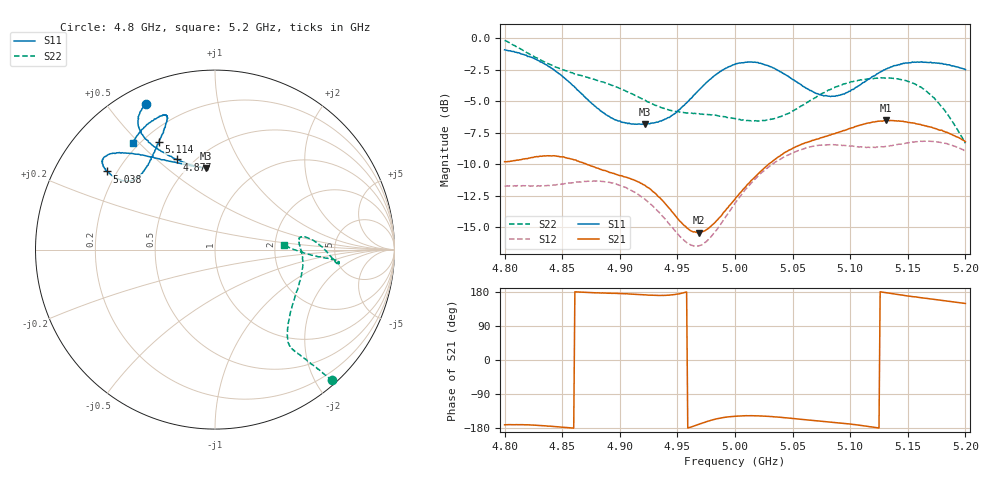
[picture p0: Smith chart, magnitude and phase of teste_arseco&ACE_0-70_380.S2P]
! Network Analyzer HP8722D
! Hewlett-Packard
! Data name: Linha & Wilkinson
! Saver's name: Rodrigo Anjos
! Comments: Teste da utilização de aquisição
! continua pelo VNA HP8722D
! Time and date: 8/5/2025 15:55
!  Frequency  S11  S21  S12  S22
# HZ  S  MA R 50
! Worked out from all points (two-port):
!   401 points, 4.8 GHz to 5.2 GHz, reference 50 ohm
!   highest |S21| = -6.52 dB at 5.131 GHz (marker M1); lowest = -15.4 dB at 4.969 GHz (marker M2)
!   |S21| within 3 dB of the highest: 4.821 GHz to 4.855 GHz (33.74 MHz wide, 0.698 % of centre); 5.036 GHz to end of sweep
!   lowest |S11| = -6.8 dB at 4.922 GHz (marker M3), VSWR 2.67, Z = 30.4 + j34.6 ohm
!   |S11| at or under -10 dB: nowhere
!   |S22| runs from -8.3 to -0.2 dB; largest |S21 - S12| = 0.83
!   S11 on the Smith chart (normalised r, x): 4.8 GHz: 0.07, +0.63; 4.877 GHz: 0.41, +0.58; 5.038 GHz: 0.16, +0.32; 5.114 GHz: 0.26, +0.58; 5.2 GHz: 0.18, +0.48
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4.8e9  0.8984 115.5  0.3236 -171.0  0.259 -86.4  0.9785 -48.1
4.819e9  0.8548 120.1  0.3326 -171.0  0.2587 -82.2  0.8773 -49.3
4.835e9  0.7879 122.1  0.341 -173.5  0.2598 -77.0  0.8027 -50.3
4.867e9  0.6002 117.1  0.3216 178.9  0.2697 -68.0  0.7097 -52.0
4.877e9  0.5449 112.7  0.3092 177.5  0.2713 -67.2  0.6876 -52.3
4.901e9  0.4657 100.1  0.2848 175.3  0.2599 -67.9  0.63 -50.1
4.922e9  0.4548 96.3  0.2604 171.9  0.2292 -70.0  0.5673 -43.2
4.934e9  0.4665 100.1  0.2341 170.3  0.2043 -70.2  0.5346 -36.8
4.958e9  0.5536 117.2  0.1771 179.5  0.1546 -58.3  0.5043 -21.0
4.969e9  0.6243 124.4  0.1692 -169.1  0.1502 -45.8  0.5014 -14.7
5e9  0.7878 137.3  0.2298 -148.5  0.2215 -21.8  0.4789 -0.3
5.018e9  0.8013 141.5  0.2835 -147.2  0.2781 -19.1  0.4704 5.5
5.038e9  0.7422 144.1  0.3388 -150.8  0.3287 -19.6  0.4864 8.3
5.067e9  0.6151 141.7  0.3928 -159.3  0.3721 -21.9  0.5705 3.5
5.089e9  0.5903 132.0  0.4216 -165.6  0.3766 -25.1  0.6438 -3.2
5.114e9  0.6771 117.3  0.4587 -174.7  0.3681 -27.8  0.6872 -6.5
5.131e9  0.754 111.3  0.4718 177.6  0.3719 -29.6  0.6934 -6.1
5.134e9  0.7626 110.5  0.4702 176.3  0.3732 -30.2  0.6944 -6.0
5.146e9  0.7946 109.9  0.4678 170.7  0.3806 -32.3  0.6828 -5.2
5.163e9  0.8025 112.7  0.4512 163.8  0.3895 -37.1  0.6308 -4.4
5.181e9  0.7884 119.4  0.4269 156.8  0.3838 -42.9  0.5235 -2.9
5.2e9  0.7503 127.5  0.3882 149.2  0.357 -48.0  0.3828 3.8
